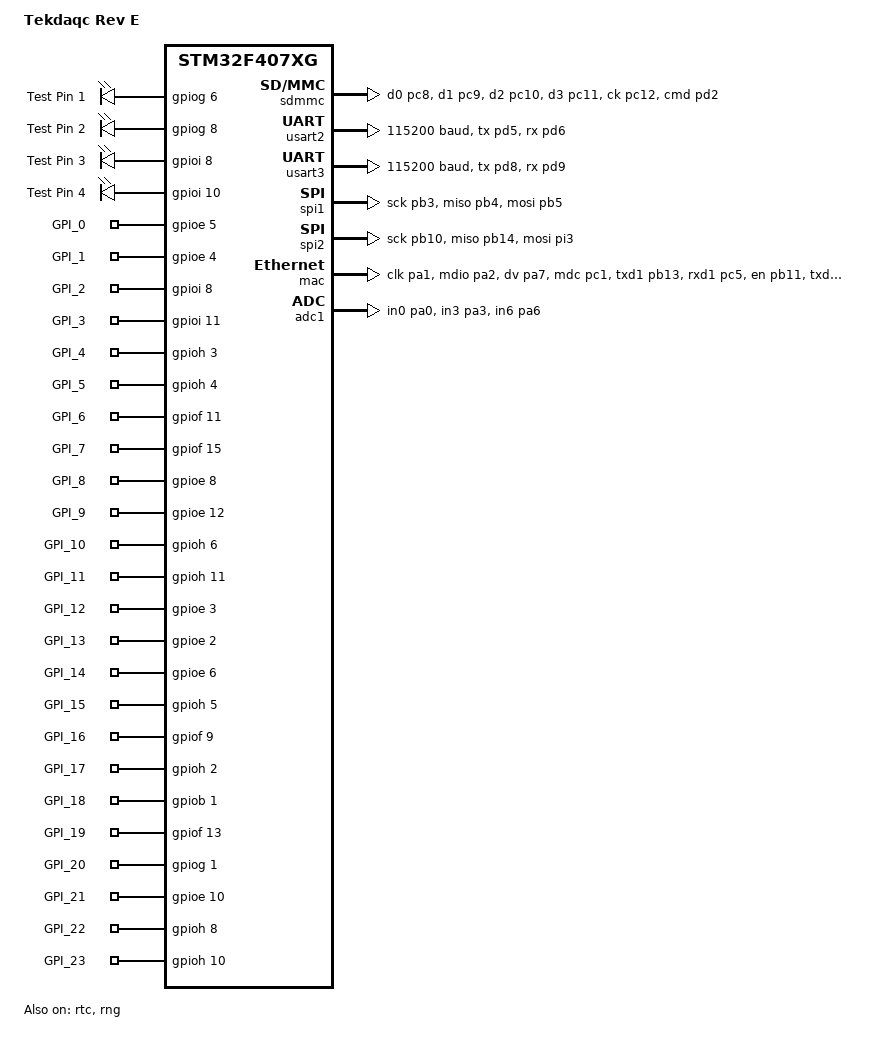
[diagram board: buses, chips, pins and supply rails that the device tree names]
/dts-v1/;
#include <st/f4/stm32f407Xg.dtsi>
#include <st/f4/stm32f407i(e-g)tx-pinctrl.dtsi>

/ {
  model = "Tekdaqc Rev E";
  compatible = "tk,tekdaqc_e";

  chosen {
    zephyr,console = &usart3;
    zephyr,shell-uart = &usart3;
    zephyr,sram = &sram0;
    zephyr,flash = &flash0;
  };

  soc {
    sdmmc: sdmmc@40012C00 {
      compatible = "st,stm32-sdmmc";
      reg = <0x40012C00 0x3000>;
      label = "SDMMC0";
      clocks = <&rcc STM32_CLOCK_BUS_APB2 0x00000800>;
      pinctrl-0 = <&sdmmc_d0_pc8
                     &sdmmc_d1_pc9
                     &sdmmc_d2_pc10
                     &sdmmc_d3_pc11
                     &sdmmc_ck_pc12
                     &sdmmc_cmd_pd2>;
      status = "okay";
    };
  };

  leds {
    compatible = "gpio-leds";
    test_pin_1: led_1 {
      gpios = <&gpiog 6 GPIO_ACTIVE_HIGH>;
      label = "Test Pin 1";
    };
    test_pin_2: led_2 {
      gpios = <&gpiog 8 GPIO_ACTIVE_HIGH>;
      label = "Test Pin 2";
    };
    test_pin_3: led_3 {
      gpios = <&gpioi 8 GPIO_ACTIVE_HIGH>;
      label = "Test Pin 3";
    };
    test_pin_4: led_4 {
      gpios = <&gpioi 10 GPIO_ACTIVE_HIGH>;
      label = "Test Pin 4";
    };
  };

  gpio_keys {
    compatible = "gpio-keys";
    gpi_0: input_0 {
      label = "GPI_0";
      gpios = <&gpioe 5 GPIO_ACTIVE_HIGH>;
    };
    gpi_1: input_1 {
      label = "GPI_1";
      gpios = <&gpioe 4 GPIO_ACTIVE_HIGH>;
    };
    gpi_2: input_2 {
      label = "GPI_2";
      gpios = <&gpioi 8 GPIO_ACTIVE_HIGH>;
    };
    gpi_3: input_3 {
      label = "GPI_3";
      gpios = <&gpioi 11 GPIO_ACTIVE_HIGH>;
    };
    gpi_4: input_4 {
      label = "GPI_4";
      gpios = <&gpioh 3 GPIO_ACTIVE_HIGH>;
    };
    gpi_5: input_5 {
      label = "GPI_5";
      gpios = <&gpioh 4 GPIO_ACTIVE_HIGH>;
    };
    gpi_6: input_6 {
      label = "GPI_6";
      gpios = <&gpiof 11 GPIO_ACTIVE_HIGH>;
    };
    gpi_7: input_7 {
      label = "GPI_7";
      gpios = <&gpiof 15 GPIO_ACTIVE_HIGH>;
    };

    gpi_8: input_8 {
      label = "GPI_8";
      gpios = <&gpioe 8 GPIO_ACTIVE_HIGH>;
    };
    gpi_9: input_9 {
      label = "GPI_9";
      gpios = <&gpioe 12 GPIO_ACTIVE_HIGH>;
    };
    gpi_10: input_10 {
      label = "GPI_10";
      gpios = <&gpioh 6 GPIO_ACTIVE_HIGH>;
    };
    gpi_11: input_11 {
      label = "GPI_11";
      gpios = <&gpioh 11 GPIO_ACTIVE_HIGH>;
    };
    gpi_12: input_12 {
      label = "GPI_12";
      gpios = <&gpioe 3 GPIO_ACTIVE_HIGH>;
    };
    gpi_13: input_13 {
      label = "GPI_13";
      gpios = <&gpioe 2 GPIO_ACTIVE_HIGH>;
    };
    gpi_14: input_14 {
      label = "GPI_14";
      gpios = <&gpioe 6 GPIO_ACTIVE_HIGH>;
    };
    gpi_15: input_15 {
      label = "GPI_15";
      gpios = <&gpioh 5 GPIO_ACTIVE_HIGH>;
    };

    gpi_16: input_16 {
      label = "GPI_16";
      gpios = <&gpiof 9 GPIO_ACTIVE_HIGH>;
    };
    gpi_17: input_17 {
      label = "GPI_17";
      gpios = <&gpioh 2 GPIO_ACTIVE_HIGH>;
    };
    gpi_18: input_18 {
      label = "GPI_18";
      gpios = <&gpiob 1 GPIO_ACTIVE_HIGH>;
    };
    gpi_19: input_19 {
      label = "GPI_19";
      gpios = <&gpiof 13 GPIO_ACTIVE_HIGH>;
    };
    gpi_20: input_20 {
      label = "GPI_20";
      gpios = <&gpiog 1 GPIO_ACTIVE_HIGH>;
    };
    gpi_21: input_21 {
      label = "GPI_21";
      gpios = <&gpioe 10 GPIO_ACTIVE_HIGH>;
    };
    gpi_22: input_22 {
      label = "GPI_22";
      gpios = <&gpioh 8 GPIO_ACTIVE_HIGH>;
    };
    gpi_23: input_23 {
      label = "GPI_23";
      gpios = <&gpioh 10 GPIO_ACTIVE_HIGH>;
    };
  };
};

&usart2 {
  pinctrl-0 = <&usart2_tx_pd5 &usart2_rx_pd6>;
  current-speed = <115200>;
  status = "okay";
};

&usart3 {
  pinctrl-0 = <&usart3_tx_pd8 &usart3_rx_pd9>;
  current-speed = <115200>;
  status = "okay";
};

&rtc { status = "okay"; };

&rng { status = "okay"; };

&spi1 {
  pinctrl-0 = <&spi1_sck_pb3 &spi1_miso_pb4 &spi1_mosi_pb5>;
  status = "okay";
};

&spi2 {
  pinctrl-0 = <&spi2_sck_pb10 &spi2_miso_pb14 &spi2_mosi_pi3>;
  status = "okay";
};

&mac {
  pinctrl-0 = <&eth_ref_clk_pa1
                 &eth_mdio_pa2
                 &eth_crs_dv_pa7
                 &eth_mdc_pc1
                 &eth_txd1_pb13
                 &eth_rxd1_pc5
                 &eth_tx_en_pb11
                 &eth_txd0_pg13
                 &eth_rxd0_pc4>;
  status = "okay";
};

&pinctrl {
  sdmmc_d0_pc8: sdmmc_d0_pc8 {
    pinmux = <STM32_PINMUX('C', 8, AF12)>;
    slew-rate = "very-high-speed";
  };
  sdmmc_d1_pc9: sdmmc_d1_pc9 {
    pinmux = <STM32_PINMUX('C', 9, AF12)>;
    slew-rate = "very-high-speed";
  };
  sdmmc_d2_pc10: sdmmc_d2_pc10 {
    pinmux = <STM32_PINMUX('C', 10, AF12)>;
    slew-rate = "very-high-speed";
  };
  sdmmc_d3_pc11: sdmmc_d3_pc11 {
    pinmux = <STM32_PINMUX('C', 11, AF12)>;
    slew-rate = "very-high-speed";
  };
  sdmmc_ck_pc12: sdmmc_ck_pc12 {
    pinmux = <STM32_PINMUX('C', 12, AF12)>;
    slew-rate = "very-high-speed";
  };
  sdmmc_cmd_pd2: sdmmc_cmd_pd2 {
    pinmux = <STM32_PINMUX('D', 2, AF12)>;
    slew-rate = "very-high-speed";
  };
};

&adc1 {
  pinctrl-0 = <&adc1_in0_pa0 &adc1_in3_pa3 &adc1_in6_pa6>;
  status = "okay";
};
